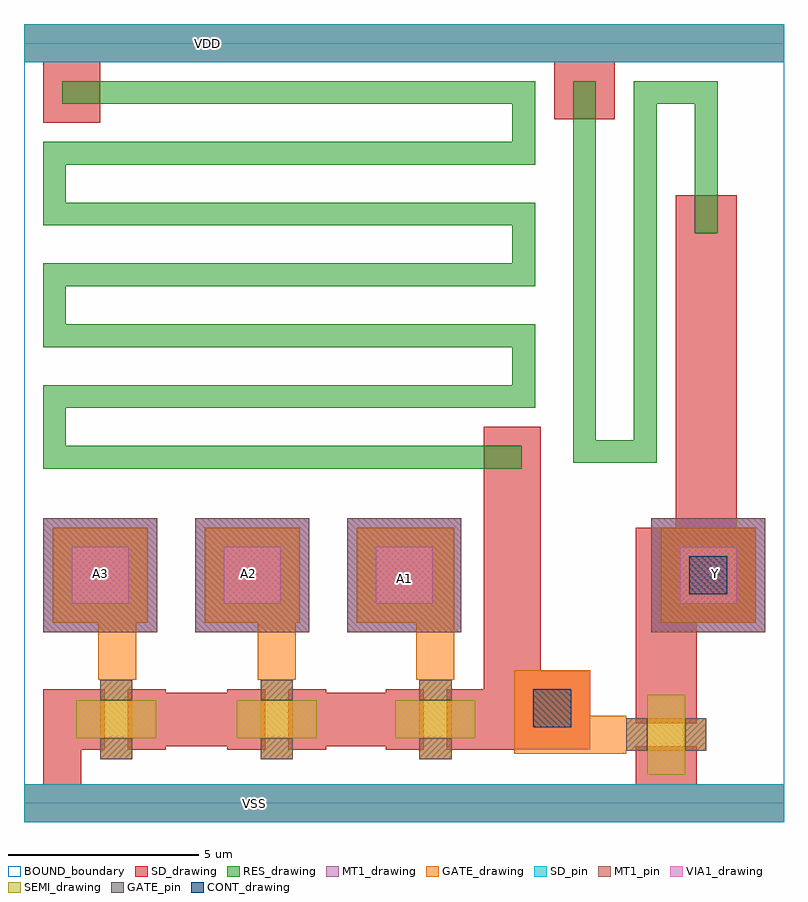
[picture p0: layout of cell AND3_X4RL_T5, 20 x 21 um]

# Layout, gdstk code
from math import pi, radians
import gdstk
lib = gdstk.Library(unit=1e-6, precision=1e-09)
def R(c, l, rs):  # rectangles x0, y0, x1, y1
    for r in rs: c.add(gdstk.rectangle(r[:2], r[2:], *l))
def A(c, l, x, y, w, h, nx, ny, dx, dy):  # array of equal rectangles
    R(c, l, [(x+i*dx, y+j*dy, x+i*dx+w, y+j*dy+h) for i in range(nx) for j in range(ny)])
def P(c, l, *ps):  # polygons
    for p in ps: c.add(gdstk.Polygon(p, *l))
RES_drawing = (1, 0)
SEMI_drawing = (3, 0)
SD_drawing = (10, 0)
SD_pin = (10, 3)
GATE_drawing = (11, 0)
GATE_pin = (11, 3)
MT1_drawing = (20, 0)
MT1_pin = (20, 3)
CONT_drawing = (30, 0)
VIA1_drawing = (41, 0)
BOUND_boundary = (150, 5)

nch_cdns_772544863680 = lib.new_cell('nch_CDNS_772544863680')
R(nch_cdns_772544863680, SEMI_drawing, [(-1.05,-0.5,1.05,0.5)])
R(nch_cdns_772544863680, SD_drawing, [(-1.3,-0.8,-0.3,0.8), (0.3,-0.8,1.3,0.8)])
R(nch_cdns_772544863680, GATE_drawing, [(-0.425,-1.05,0.425,1.05)])
R(nch_cdns_772544863680, GATE_pin, [(-0.425,-1.05,0.425,-0.5), (-0.425,0.5,0.425,1.05)])

gate_mt1_cdns_7725448636 = lib.new_cell('GATE_MT1_CDNS_772544863680')
R(gate_mt1_cdns_7725448636, GATE_drawing, [(-1.25,-1.25,1.25,1.25)])
R(gate_mt1_cdns_7725448636, MT1_drawing, [(-1.25,-1.25,1.25,1.25)])
R(gate_mt1_cdns_7725448636, VIA1_drawing, [(-0.75,-0.75,0.75,0.75)])

sd_gate_cdns_77254486368 = lib.new_cell('SD_GATE_CDNS_772544863681')
R(sd_gate_cdns_77254486368, SD_drawing, [(-1,-1,1,1)])
R(sd_gate_cdns_77254486368, GATE_drawing, [(-1,-1,1,1)])
R(sd_gate_cdns_77254486368, CONT_drawing, [(-0.5,-0.5,0.5,0.5)])

c_sd_gate_cdns_77254486368 = lib.new_cell('SD_GATE_CDNS_772544863682')
R(c_sd_gate_cdns_77254486368, SD_drawing, [(-1.25,-1.25,1.25,1.25)])
R(c_sd_gate_cdns_77254486368, GATE_drawing, [(-1.25,-1.25,1.25,1.25)])
R(c_sd_gate_cdns_77254486368, CONT_drawing, [(-0.5,-0.5,0.5,0.5)])

and3_x4rl_t5 = lib.new_cell('AND3_X4RL_T5')
R(and3_x4rl_t5, SD_drawing, [(0,-0.5,20,0.5), (0.5,0.5,1.5,3), (12.1,8.3,13.6,9.9), (0.5,17.9,2,19.5), (13.95,18,15.55,19.5), (0,19.5,20,20.5)])
R(and3_x4rl_t5, SD_pin, [(0,-0.5,20,0.5), (0,19.5,20,20.5)])
R(and3_x4rl_t5, GATE_drawing, [(6.15,3.25,7.15,3.35)])
P(and3_x4rl_t5, GATE_drawing, [(2.95,3.35),(1.95,3.35),(1.95,3.25),(2.05,3.25),(2.05,3.2),(2.8,3.2),(2.8,3.25),(2.95,3.25)],
  [(11.325,3.35),(10.325,3.35),(10.325,3.25),(10.45,3.25),(10.45,3.2),(11.2,3.2),(11.2,3.25),(11.325,3.25)],
  [(15.75,2.3),(15.75,1.3),(15.85,1.3),(15.85,1.425),(15.9,1.425),(15.9,2.175),(15.85,2.175),(15.85,2.3)])
A(and3_x4rl_t5, MT1_drawing, 0.5, 4.5, 3, 3, 3, 1, 4, 0)
R(and3_x4rl_t5, MT1_drawing, [(16.5,4.5,19.5,7.5)])
A(and3_x4rl_t5, MT1_pin, 0.5, 4.5, 3, 3, 3, 1, 4, 0)
R(and3_x4rl_t5, MT1_pin, [(16.5,4.5,19.5,7.5)])
R(and3_x4rl_t5, BOUND_boundary, [(0,0,20,20)])
and3_x4rl_t5.add(gdstk.FlexPath([(10.825,3.35),(10.825,7.25)], 1, ends="flush", simple_path=True, layer=11, datatype=0))  # GATE_drawing
and3_x4rl_t5.add(gdstk.FlexPath([(15.75,1.8),(12.9,1.8)], 1, ends="flush", simple_path=True, layer=11, datatype=0))  # GATE_drawing
and3_x4rl_t5.add(gdstk.FlexPath([(6.65,3.35),(6.65,5.325)], 1, ends="flush", simple_path=True, layer=11, datatype=0))  # GATE_drawing
and3_x4rl_t5.add(gdstk.FlexPath([(2.45,3.35),(2.45,5.325)], 1, ends="flush", simple_path=True, layer=11, datatype=0))  # GATE_drawing
and3_x4rl_t5.add(gdstk.FlexPath([(17.95,15.2),(17.95,6.5)], 1.6, ends=(0.8, 0.75), simple_path=True, layer=10, datatype=0))  # SD_drawing
and3_x4rl_t5.add(gdstk.FlexPath([(17.975,6.5),(17.95,6.5)], 1.5, ends=(0.8, 0.8), simple_path=True, layer=10, datatype=0))  # SD_drawing
and3_x4rl_t5.add(gdstk.FlexPath([(16.9,6.5),(16.9,3.85)], 1.6, ends=(0.75, 0.8), simple_path=True, layer=10, datatype=0))  # SD_drawing
and3_x4rl_t5.add(gdstk.FlexPath([(17.95,6.5),(17.95,6.45)], 1.6, ends=(0.75, 0.75), simple_path=True, layer=10, datatype=0))  # SD_drawing
and3_x4rl_t5.add(gdstk.FlexPath([(18.75,15.2),(17.95,15.2)], 1.6, ends=(0, 0.8), simple_path=True, layer=10, datatype=0))  # SD_drawing
and3_x4rl_t5.add(gdstk.FlexPath([(12.85,9.15),(12.85,2.95)], 1.5, ends="extended", simple_path=True, layer=10, datatype=0))  # SD_drawing
and3_x4rl_t5.add(gdstk.FlexPath([(12.125,2.2),(14.9,2.2)], 1.6, ends="flush", simple_path=True, layer=10, datatype=0))  # SD_drawing
and3_x4rl_t5.add(gdstk.FlexPath([(3.725,2.2),(5.35,2.2)], 1.4, ends="flush", simple_path=True, layer=10, datatype=0))  # SD_drawing
and3_x4rl_t5.add(gdstk.FlexPath([(7.95,2.2),(9.525,2.2)], 1.4, ends="flush", simple_path=True, layer=10, datatype=0))  # SD_drawing
and3_x4rl_t5.add(gdstk.FlexPath([(17.95,6.5),(16.9,6.5)], 1.5, ends=(0.8, 0.8), simple_path=True, layer=10, datatype=0))  # SD_drawing
and3_x4rl_t5.add(gdstk.FlexPath([(17.95,15.2),(17.15,15.2)], 1.6, ends=(0.8, 0), simple_path=True, layer=10, datatype=0))  # SD_drawing
and3_x4rl_t5.add(gdstk.FlexPath([(2,18.7),(13.15,18.7),(13.15,17.1),(0.8,17.1),(0.8,15.5),(13.15,15.5),(13.15,13.9),(0.8,13.9),(0.8,12.3),(13.15,12.3),(13.15,10.7),(0.8,10.7),(0.8,9.1),(13.1,9.1)], 0.6, ends=(1, 0), simple_path=True, layer=1, datatype=0))  # RES_drawing
and3_x4rl_t5.add(gdstk.FlexPath([(14.75,18),(14.75,9.25),(16.35,9.25),(16.35,18.7),(17.95,18.7),(17.95,15)], 0.6, ends=(1, 0), simple_path=True, layer=1, datatype=0))  # RES_drawing
and3_x4rl_t5.add(gdstk.Reference(nch_cdns_772544863680, (2.425,2.2)))
and3_x4rl_t5.add(gdstk.Reference(nch_cdns_772544863680, (16.9,1.8), rotation=pi/2))
and3_x4rl_t5.add(gdstk.Reference(nch_cdns_772544863680, (10.825,2.2)))
and3_x4rl_t5.add(gdstk.Reference(nch_cdns_772544863680, (6.65,2.2)))
and3_x4rl_t5.add(gdstk.Reference(gate_mt1_cdns_7725448636, (2,6)))
and3_x4rl_t5.add(gdstk.Reference(gate_mt1_cdns_7725448636, (18,6)))
and3_x4rl_t5.add(gdstk.Reference(gate_mt1_cdns_7725448636, (10,6)))
and3_x4rl_t5.add(gdstk.Reference(gate_mt1_cdns_7725448636, (6,6)))
and3_x4rl_t5.add(gdstk.Reference(sd_gate_cdns_77254486368, (13.9,2.5)))
and3_x4rl_t5.add(gdstk.Reference(c_sd_gate_cdns_77254486368, (18,6)))
and3_x4rl_t5.add(gdstk.Label('VDD', (4.825,20), layer=10, texttype=3))
and3_x4rl_t5.add(gdstk.Label('VSS', (6.075,0), layer=10, texttype=3))
and3_x4rl_t5.add(gdstk.Label('Y', (18.2,6.05), layer=20, texttype=3))
and3_x4rl_t5.add(gdstk.Label('A2', (5.9,6.05), layer=20, texttype=3))
and3_x4rl_t5.add(gdstk.Label('A1', (10,5.9), layer=20, texttype=3))
and3_x4rl_t5.add(gdstk.Label('A3', (2.025,6.05), layer=20, texttype=3))

lib.write_gds('AND3_X4RL_T5.gds')
